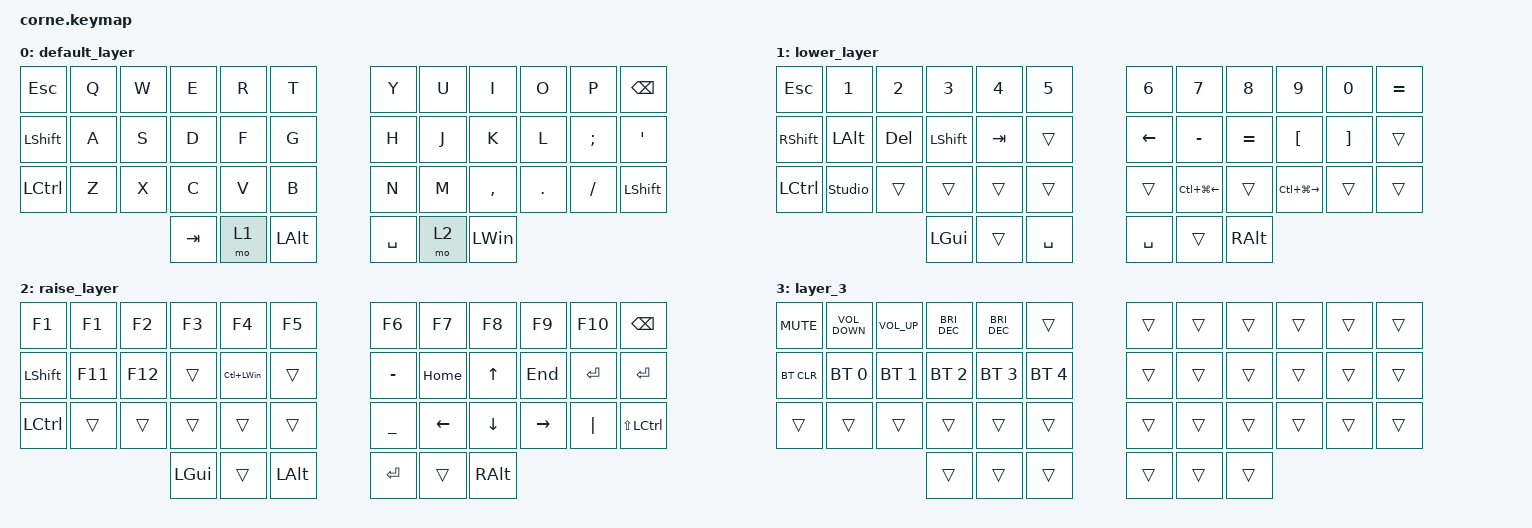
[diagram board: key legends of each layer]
/*
 * Copyright (c) 2020 The ZMK Contributors
 *
 * SPDX-License-Identifier: MIT
 */

#include <behaviors.dtsi>
#include <dt-bindings/zmk/bt.h>
#include <dt-bindings/zmk/keys.h>

/ {
    combos {
        compatible = "zmk,combos";

        layer3 {
            bindings = <&mo 3>;
            key-positions = <37 40>;
        };
    };

    keymap {
        compatible = "zmk,keymap";

        default_layer {
            // -----------------------------------------------------------------------------------------
            // |  TAB |  Q  |  W  |  E  |  R  |  T  |   |  Y  |  U   |  I  |  O  |  P  | BKSP |
            // | CTRL |  A  |  S  |  D  |  F  |  G  |   |  H  |  J   |  K  |  L  |  ;  |  '   |
            // | SHFT |  Z  |  X  |  C  |  V  |  B  |   |  N  |  M   |  ,  |  .  |  /  | ESC  |
            //                    | GUI | LWR | SPC |   | ENT | RSE  | ALT |

            bindings = <
&kp ESCAPE        &kp Q  &kp W  &kp E    &kp R  &kp T           &kp Y      &kp U  &kp I         &kp O    &kp P     &kp BSPC
&kp LEFT_SHIFT    &kp A  &kp S  &kp D    &kp F  &kp G           &kp H      &kp J  &kp K         &kp L    &kp SEMI  &kp SQT
&kp LEFT_CONTROL  &kp Z  &kp X  &kp C    &kp V  &kp B           &kp N      &kp M  &kp COMMA     &kp DOT  &kp FSLH  &kp LEFT_SHIFT
                                &kp TAB  &mo 1  &kp LEFT_ALT    &kp SPACE  &mo 2  &kp LEFT_WIN
            >;
        };

        lower_layer {
            // -----------------------------------------------------------------------------------------
            // |  TAB |  1  |  2  |  3  |  4  |  5  |   |  6  |  7  |  8  |  9  |  0  | BKSP |
            // | BTCLR| BT1 | BT2 | BT3 | BT4 | BT5 |   | LFT | DWN |  UP | RGT |     |      |
            // | SHFT |     |     |     |     |     |   |     |     |     |     |     |      |
            //                    | GUI |     | SPC |   | ENT |     | ALT |

            bindings = <
&kp ESCAPE        &kp NUMBER_1    &kp NUMBER_2  &kp NUMBER_3    &kp NUMBER_4  &kp N5       &kp NUMBER_6  &kp N7            &kp N8     &kp N9             &kp N0             &kp EQUAL
&kp RIGHT_SHIFT   &kp LEFT_ALT    &kp DELETE    &kp LEFT_SHIFT  &kp TAB       &trans       &kp LEFT      &kp MINUS         &kp EQUAL  &kp LEFT_BRACKET   &kp RIGHT_BRACKET  &trans
&kp LEFT_CONTROL  &studio_unlock  &trans        &trans          &trans        &trans       &trans        &kp LC(LG(LEFT))  &trans     &kp LC(LG(RIGHT))  &trans             &trans
                                                &kp LGUI        &trans        &kp SPACE    &kp SPACE     &trans            &kp RALT
            >;
        };

        raise_layer {
            // -----------------------------------------------------------------------------------------
            // |  TAB |  !  |  @  |  #  |  $  |  %  |   |  ^  |  &  |  *  |  (  |  )  | BKSP |
            // | CTRL |     |     |     |     |     |   |  -  |  =  |  [  |  ]  |  \  |  `   |
            // | SHFT |     |     |     |     |     |   |  _  |  +  |  {  |  }  | "|" |  ~   |
            //                    | GUI |     | SPC |   | ENT |     | ALT |

            bindings = <
&kp F1            &kp F1   &kp F2   &kp F3    &kp F4            &kp F5          &kp F6     &kp F7    &kp F8    &kp F9     &kp F10    &kp BSPC
&kp LEFT_SHIFT    &kp F11  &kp F12  &trans    &kp LC(LEFT_WIN)  &trans          &kp MINUS  &kp HOME  &kp UP    &kp END    &kp ENTER  &kp ENTER
&kp LEFT_CONTROL  &trans   &trans   &trans    &trans            &trans          &kp UNDER  &kp LEFT  &kp DOWN  &kp RIGHT  &kp PIPE   &kp LS(LEFT_CONTROL)
                                    &kp LGUI  &trans            &kp LEFT_ALT    &kp RET    &trans    &kp RALT
            >;
        };

        layer_3 {
            bindings = <
&kp K_MUTE  &kp C_VOLUME_DOWN  &kp C_VOLUME_UP  &kp C_BRI_DEC  &kp C_BRIGHTNESS_DEC  &trans          &trans  &trans  &trans  &trans  &trans  &trans
&bt BT_CLR  &bt BT_SEL 0       &bt BT_SEL 1     &bt BT_SEL 2   &bt BT_SEL 3          &bt BT_SEL 4    &trans  &trans  &trans  &trans  &trans  &trans
&trans      &trans             &trans           &trans         &trans                &trans          &trans  &trans  &trans  &trans  &trans  &trans
                                                &trans         &trans                &trans          &trans  &trans  &trans
            >;
        };
    };
};
